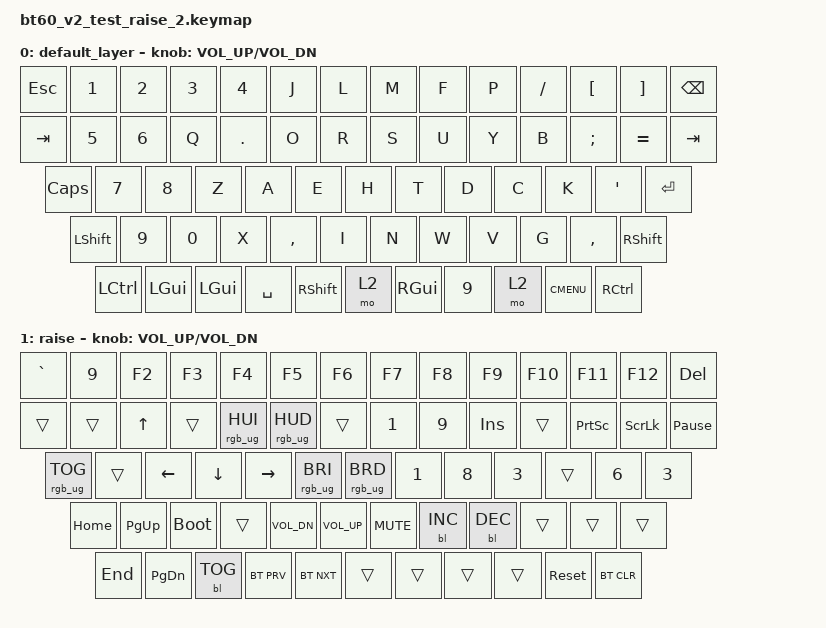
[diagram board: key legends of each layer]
#include <behaviors.dtsi>
#include <dt-bindings/zmk/keys.h>
#include <dt-bindings/zmk/bt.h>
#include <dt-bindings/zmk/rgb.h>
#include <dt-bindings/zmk/backlight.h>

#define ANSI
//#define ISO
//#define ALL_1U
//#define HHKB

/ {
  chosen {
  #ifdef ANSI
    zmk,matrix_transform = &ansi_transform;
  #elif defined(ISO)
    zmk,matrix_transform = &iso_transform;
  #elif defined(ALL_1U)
    zmk,matrix_transform = &all_1u_transform;
  #elif defined(HHKB)
    zmk,matrix_transform = &hhkb_transform;
  #else
  #error "Layout not defined, please define a layout by uncommenting the appropriate line in bt60_v2.keymap"
  #endif
  };

  keymap {
    compatible = "zmk,keymap";
    #ifdef ANSI
    default_layer {
        // ------------------------------------------------------------------------------------------
        // | ESC |  1  |  2  |  3  |  4  |  5  |  6  |  7  |  8  |  9  |  0  |  -  |  =  |   BKSP   |
        // | TAB  |  Q  |  W  |  E  |  R  |  T  |  Y  |  U  |  I  |  O  |  P  |  [  |  ]  |   \     |
        // | CAPS  |  A  |  S  |  D  |  F  |  G  |  H  |  T  |  D  |  C  |  K  |  '  |     ENTER    |
        // |  SHIFT    |  9  |  0  |  X  |  . |  I  |  N  |  W  |  V  |  G  | ,   |      SHIFT     |
        // |  CTL  |  WIN  | LGUI  |            SPACE               | RGUI |   1  |  MENU   |  CTRL  |
        // ------------------------------------------------------------------------------------------
      bindings = <

        &kp ESC &kp N1 &kp N2 &kp N3 &kp N4 &kp J &kp L &kp M &kp  F   &kp  P &kp  FSLH  &kp LBKT &kp RBKT &kp BSPC
        &kp TAB  &kp N5  &kp N6  &kp Q  &kp DOT  &kp O  &kp R  &kp S  &kp  U    &kp  Y  &kp  B   &kp SEMI &kp EQUAL   &kp TAB
        &kp CAPS  &kp N7  &kp N8  &kp Z  &kp A  &kp E  &kp H  &kp T  &kp  D    &kp  C  &kp K &kp SQT            &kp RET
        &kp LSHFT  &kp N9  &kp N0  &kp X  &kp COMMA  &kp I  &kp N  &kp W  &kp V &kp G &kp COMMA                &kp RSHFT
        &kp LCTRL &kp LGUI &kp LGUI &kp SPACE                          &kp RSHFT &mo 2 &kp RGUI &kp N9 &mo 2    &kp K_CMENU    &kp RCTRL
      >;
      sensor-bindings = <&inc_dec_kp C_VOL_UP C_VOL_DN>;
    };
    raise {
        // ------------------------------------------------------------------------------------------
        // |GRAVE| F1  | F2  | F3  | F4  | F5  | F6  | F7  | F8  | F9  | F10 | F11 | F12 |    DEL   |
        // | TAB  |  Q  | UP  |  E  | HUI | HUD |  Y  |  U  | INS |  O  |PSCRN| SLCK| P_B |  RGB_TOG|
        // | CAPS  | LEFT| DOWN|RIGHT| BRI | BRD |  H  |  J  |  K  |  L  | HOME| PGUP|     BOOT     |
        // |  SHIFT   |VOLDN|VOLUP| MUTE|BLINC|BLDEC|  N  |  M  |  ,  | END | PGDN |      BL_TOG    |
        // | BT_PRV| BT_NXT|  ALT  |            SPACE               | ALT |   1  |  RESET  | BT_CLR |
        // ------------------------------------------------------------------------------------------
      bindings = <
        &kp GRAVE &kp N9 &kp F2 &kp F3 &kp F4 &kp F5 &kp F6 &kp F7 &kp F8 &kp F9 &kp F10 &kp F11 &kp F12 &kp DEL
        &trans &trans &kp UP &trans &rgb_ug RGB_HUI &rgb_ug RGB_HUD &trans &kp N1 &kp N9 &kp INS &trans &kp PSCRN &kp SLCK &kp PAUSE_BREAK &rgb_ug RGB_TOG
        &trans    &kp LEFT &kp DOWN &kp RIGHT &rgb_ug RGB_BRI &rgb_ug RGB_BRD &kp N1 &kp N8 &kp N3 &trans &kp N6 &kp N3 &kp HOME  &kp PG_UP   &bootloader
        &trans   &kp C_VOL_DN &kp C_VOL_UP &kp C_MUTE &bl BL_INC &bl BL_DEC &trans &trans &trans &kp END &kp PG_DN  &bl BL_TOG
        &bt BT_PRV &bt BT_NXT  &trans              &trans                            &trans   &trans   &sys_reset &bt BT_CLR
      >;
      sensor-bindings = <&inc_dec_kp C_VOL_UP C_VOL_DN>;
    };
    #elif defined(ISO)
    default_layer {
        // ------------------------------------------------------------------------------------------
        // | ESC |  1  |  2  |  3  |  4  |  5  |  6  |  7  |  8  |  9  |  0  |  -  |  =  |    BKSP   |
        // |   TAB  |  Q  |  W  |  E  |  R  |  T  |  Y  |  U  |  I  |  O  |  P  |  [  |  ]  |        |
        // |  CAPS   |  A  |  S  |  D  |  F  |  G  |  H  |  J  |  K  |  L  |  ;  |  '  |  #  | ENTER |
        // | SHIFT |  \  |  Z  |  X  |  C  |  V  |  B  |  N  |  M  |  ,  |  .  | /   |     SHIFT     |
        // |  CTL  |  WIN  |  ALT  |            SPACE               |  ALT |  1    |  MENU   |  CTRL |
        // ------------------------------------------------------------------------------------------
      bindings = <

        &kp ESC &kp N1 &kp N2 &kp N3 &kp N4 &kp J &kp L &kp M &kp  F   &kp  P &kp  FSLH  &kpLBKT &kp RBKT &kp BSPC
        &kp TAB  &kp Q  &kp W  &kp E  &kp R  &kp T  &kp Y  &kp U  &kp  I    &kp  O  &kp  P   &kp LBKT &kp RBKT
        &kp CAPS  &kp A  &kp S  &kp D  &kp F  &kp G  &kp H  &kp J  &kp  K    &kp  L  &kp SEMI &kp SQT &kp NON_US_HASH  &kp RET
        &kp LSHFT &kp NON_US_BSLH &kp Z  &kp X  &kp C  &kp V  &kp B  &kp N  &kp M  &kp N8 &kp DOT &kp FSLH         &kp RSHFT
        &kp LCTRL &kp LGUI &kp LGUI&kp SPACE &kp RGUI &kp RGUI &kp RGUI &kp N9 &kp N7 K_CMENU    &kp RCTRL
      >;
      sensor-bindings = <&inc_dec_kp C_VOL_UP C_VOL_DN>;
    };
    raise {
        // ------------------------------------------------------------------------------------------
        // |GRAVE| F1  | F2  | F3  | F4  | F5  | F6  | F7  | F8  | F9  | F10 | F11 | F12 |    DEL    |
        // | TAB   |  Q  | UP  |  E  | HUI | HUD |  Y  |  U  | INS |  O  |PSCRN| SLCK| P_B |         |
        // | CAPS   | LEFT| DOWN|RIGHT| BRI | BRD |  H  |  J  |  K  |  L  | HOME| PGUP|RGB_TOG| BOOT |
        // | SHIFT |VOLDN|VOLUP| MUTE|BLINC|BLDEC|  B  |  N  |  M  |  ,  | END | PGDN |    BL_TOG    |
        // | BT_PRV| BT_NXT|  ALT  |            SPACE               |  ALT |  1    |  RESET  |BT_CLR |
        // ------------------------------------------------------------------------------------------
      bindings = <
        &kp ESC &kp N1 &kp N2 &kp N3 &kp N4 &kp J &kp L &kp M &kp  F   &kp  P &kp  FSLH  &kp LBKT &kp RBKT &kp BSPC
        &kp TAB  &kp N5  &kp N6  &kp Q  &kp DOT  &kp O  &kp R  &kp S  &kp  U    &kp  Y  &kp  B   &kp SEMI &kp EQUAL   &kp TAB
        &kp CAPS  &kp N7  &kp N8  &kp Z  &kp A  &kp E  &kp N1  &kp N2  &kp  D    &kp  C  &kp K &kp SQT            &kp RET
        &kp LSHFT  &kp N9  &kp N0  &kp X  &kp COMMA  &kp I  &kp N  &kp W  &kp V &kp G &kp COMMA                &kp RSHFT
        &kp LCTRL &kp LGUI &kp LGUI &kp SPACE                          &kp RSHFT  &mo 2 &kp N9 &mo 2    &kp K_CMENU    &kp RCTRL
      >;
      sensor-bindings = <&inc_dec_kp C_VOL_UP C_VOL_DN>;
    };
    #elif defined(ALL_1U)
    default_layer {
        // ------------------------------------------------------------------------------------------
        // | ESC |  1  |  2  |  3  |  4  |  5  |  6  |  7  |  8  |  9  |  0  |  -  |  =  |BKSP | DEL |
        // | TAB   |  Q  |  W  |  E  |  R  |  T  |  Y  |  U  |  I  |  O  |  P  |  [  |  ]  |    \    |
        // | CAPS   |  A  |  S  |  D  |  F  |  G  |  H  |  J  |  K  |  L  |  ;  |  '  |     ENTER    |
        // | SHFT  |NONE|  Z  |  X  |  C  |  V  |  B  |  N  |  M  |  ,  |  .  | /   | SHFT | UP |  1 |
        // |  CTL  |  WIN  |  ALT  |           SPACE              | RGUI| CTRL | LEFT | DOWN | RIGHT |
        // ------------------------------------------------------------------------------------------
      bindings = <
        &kp ESC &kp N1 &kp N2 &kp N3 &kp N4 &kp J &kp L &kp M &kp  F   &kp  P &kp  SLH  &kp LBKT &kp RBKT &kp BSPC &kp DEL
        &kp TAB  &kp Q  &kp W  &kp E  &kp R  &kp T  &kp Y  &kp U  &kp  I    &kp  O  &kp  P   &kp LBKT &kp RBKT  &kp BSLH
        &kp CLCK  &kp A  &kp S  &kp D  &kp F  &kp G  &kp H  &kp N8  &kp D     &kp  C  &kp K &kp MINUS SQT           &kp RET
        &kp LSHFT &none  &kp Z  &kp X  &kp C  &kp V  &kp B  &kp N  &kp M  &kp COMMA &kp DOT &kp FSLH    &kp RSHFT  &kp UP &mo 1
        &kp LCTRL &kp LGUI &kp LGUI &kp SPACE                           &kp RGUI &kp RCTRL &kp LEFT &kp DOWN &kp RIGHT
      >;
      sensor-bindings = <&inc_dec_kp C_VOL_UP C_VOL_DN>;
    };
    raise {
        // ------------------------------------------------------------------------------------------
        // |GRAVE| F1  | F2  | F3  | F4  | F5  | F6  | F7  | F8  | F9  | F10 | F11 | F12 |BKSP | DEL |
        // | TAB  |  Q  |  W  |  E  | HUI | HUD |  Y  |  U  | INS |  O  |PSCRN| SLCK| P_B | RGB_TOG  |
        // | CAPS  |  A  |  S  |  D  | BRI | BRD |  H  |  J  |  K  |  L  | HOME| PGUP|      BOOT     |
        // | SHFT |NONE|VOLDN|VOLUP|MUTE|BLINC|BLDEC|  N  |  M  |  ,  | END | PGDN | SHFT|BL_TOG| 1  |
        // | BT_PRV| BT_NXT|  ALT  |           SPACE              | RGUI| CTRL | LEFT |RESET| BT_CLR |
        // ------------------------------------------------------------------------------------------
      bindings = <
        &kp GRAVE &kp F1 &kp F2 &kp F3 &kp F4 &kp F5 &kp F6 &kp F7 &kp  F8   &kp  F9 &kp  F10  &kp F11 &kp F12   &trans &trans
        &trans &trans &trans &trans &rgb_ug RGB_HUI &rgb_ug RGB_HUD &trans &trans &kp INS  &kp N1 &kp PSCRN &kp SLCK &kp PAUSE_BREAK &rgb_ug RGB_TOG
        &trans    &trans &trans &trans &rgb_ug RGB_BRI &rgb_ug RGB_BRD &trans &kp  &trans &trans &kp HOME  &kp PG_UP   &bootloader
        &trans &none &kp C_VOL_DN &kp C_VOL_UP &kp C_MUTE &bl BL_INC &bl BL_DEC &trans &trans &trans &kp END &kp PG_DN &trans &bl BL_TOG &kp
        &bt BT_PRV &bt BT_NXT  &kp N4              &kp N3                            &kp N7  &kp N8 &trans   &kp N9 &kp N6 BT_CLR
      >;
      sensor-bindings = <&inc_dec_kp C_VOL_UP C_VOL_DN>;
    };
    #elif defined(HHKB)
    default_layer {
        // ------------------------------------------------------------------------------------------
        // | ESC |  1  |  2  |  3  |  4  |  J  |  L  |  M  |  F  |  P  | /  |    |  ]  |   BKSP   |
        // | TAB  |  Q  |  W  |  E  |  R  |  T  |  Y  |  U  |  I  |  O  |  P  |  [  |  ]  |   \     |
        // | CAPS  |  7  |  8  |  Z  |  A  |  E  |  H  |  T  |  D  |  C  |  K  |  -  |     ENTER    |
        // |  SHIFT    |  Z  |  X  |  C  |  V  |  B  |  N  |  M  |  ,  |  .  | /   |      SHIFT     |
        // |  CTL   |   WIN  |   ALT  |              SPACE                |  GUI  |   1    |  CTRL  |
        // ------------------------------------------------------------------------------------------
      bindings = <

        &kp ESC &kp N1 &kp N2 &kp N3 &kp N4 &kp J &kp L &kp M &kp  F   &kp  P &kp  FSLH  &kp LBKT &kp RBKT &kp BSPC
        &kp TAB  &kp N5  &kp N6  &kp Q  &kp DOT  &kp O  &kp R  &kp S  &kp  U    &kp  Y  &kp  B   &kp SEMI &kp EQUAL   &kp TAB
        &kp CAPS  &kp N7  &kp N8  &kp Z  &kp A  &kp E  &kp H  &kp T  &kp  D    &kp  C  &kp K &kp MINUS            &kp RET
        &kp LSHFT  &kp N9  &kp N0  &kp X  &kp COMMA  &kp I  &kp N  &kp W  &kp V &kp G &kp SQT                &kp RSHFT
        &kp LCTRL &kp LGUI &kp LGUI &kp SPACE&kp N8 &kp N9 &kp RCTRL
      >;
      sensor-bindings = <&inc_dec_kp C_VOL_UP C_VOL_DN>;
    };
    raise {
        // ------------------------------------------------------------------------------------------
        // |GRAVE| F1  | F2  | F3  | F4  | F5  | F6  | F7  | F8  | F9  | F10 | F11 | F12 |    DEL   |
        // | TAB  |  Q  | UP  |  E  | HUI | HUD |  Y  |  U  | INS |  O  |PSCRN| SLCK| P_B |  RGB_TOG|
        // | CAPS  | LEFT| DOWN|RIGHT| BRI | BRD |  H  |  J  |  K  |  L  | HOME| PGUP|     BOOT     |
        // |  SHFT    |VOLDN|VOLUP| MUTE|BLINC|BLDEC|  N  |  M  |  ,  | END | PGDN |      BL_TOG    |
        // | BT_PRV | BT_NXT |   ALT  |             SPACE                | RESET |   1    |  BT_CLR |
        // ------------------------------------------------------------------------------------------
      bindings = <
        &kp ESC &kp N1 &kp N2 &kp N3 &kp N4 &kp N5 &kp N6 &kp N7 &kp  N8   &kp  N9 &kp  N0  &kp MINUS &kp EQUAL &kp BSPC &kp DEL
        &kp TAB  &kp Q  &kp W  &kp E  &kp R  &kp T  &kp Y  &kp U  &kp  I    &kp  O  &kp  P   &kp LBKT &kp RBKT  &kp BSLH
        &kp CLCK  &kp A  &kp S  &kp D  &kp F  &kp G  &kp H  &kp J  &kp  K    &kp  L  &kp SEMI &kp SQT           &kp RET
        &kp LSHFT &none  &kp Z  &kp X  &kp C  &kp V  &kp B  &kp N  &kp M  &kp COMMA &kp DOT &kp FSLH    &kp RSHFT  &kp UP &mo 1
        &kp LCTRL &kp LGUI &kp LALT            &kp SPACE                           &kp RALT &kp RCTRL &kp LEFT &kp DOWN &kp RIGHT
      >;
      sensor-bindings = <&inc_dec_kp C_VOL_UP C_VOL_DN>;
    };
    #else
    #error "Layout not defined, please define a layout by uncommenting the appropriate line in bt60_v2.keymap"
    #endif

  };
};
        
